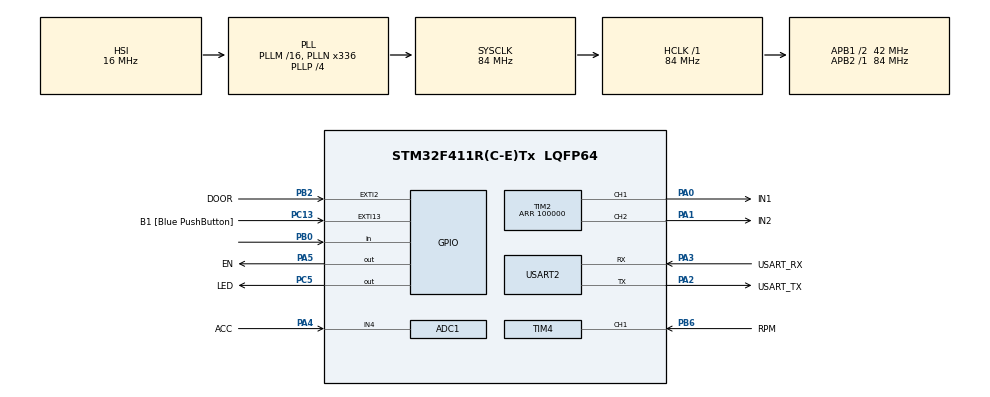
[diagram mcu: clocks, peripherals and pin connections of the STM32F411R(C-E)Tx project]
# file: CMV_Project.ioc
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ADC1.Channel-2\#ChannelRegularConversion=ADC_CHANNEL_4
ADC1.NbrOfConversionFlag=1
ADC1.Rank-2\#ChannelRegularConversion=1
ADC1.SamplingTime-2\#ChannelRegularConversion=ADC_SAMPLETIME_3CYCLES
ADC1.master=1
Mcu.Family=STM32F4
Mcu.Name=STM32F411R(C-E)Tx
Mcu.Package=LQFP64
NVIC.EXTI2_IRQn=true\:0\:0\:false\:false\:true\:true\:true\:true
NVIC.PriorityGroup=NVIC_PRIORITYGROUP_0
NVIC.TIM3_IRQn=true\:0\:0\:false\:false\:true\:true\:true\:true
NVIC.USART2_IRQn=true\:0\:0\:false\:false\:true\:true\:true\:true
PA0-WKUP.GPIO_Label=IN1
PA0-WKUP.Signal=S_TIM2_CH1_ETR
PA1.GPIO_Label=IN2
PA1.Signal=S_TIM2_CH2
PA13.GPIO_Label=TMS
PA13.Mode=Serial_Wire
PA13.Signal=SYS_JTMS-SWDIO
PA14.GPIO_Label=TCK
PA14.Mode=Serial_Wire
PA14.Signal=SYS_JTCK-SWCLK
PA2.GPIO_Label=USART_TX
PA2.Mode=Asynchronous
PA2.Signal=USART2_TX
PA3.GPIO_Label=USART_RX
PA3.Mode=Asynchronous
PA3.Signal=USART2_RX
PA4.GPIO_Label=ACC
PA4.Signal=SharedAnalog_PA4
PA5.GPIO_Label=EN
PA5.Signal=GPIO_Output
PB0.GPIO_PuPd=GPIO_PULLDOWN
PB0.Signal=GPIO_Input
PB2.GPIO_Label=DOOR
PB2.GPIO_PuPd=GPIO_PULLDOWN
PB2.Signal=GPXTI2
PB3.GPIO_Label=SWO
PB3.Signal=SYS_JTDO-SWO
PB6.GPIO_Label=RPM
PB6.Signal=S_TIM4_CH1
PC13-ANTI_TAMP.GPIO_Label=B1 [Blue PushButton]
PC13-ANTI_TAMP.GPIO_ModeDefaultEXTI=GPIO_MODE_IT_FALLING
PC13-ANTI_TAMP.Signal=GPXTI13
PC14-OSC32_IN.Mode=LSE-External-Oscillator
PC14-OSC32_IN.Signal=RCC_OSC32_IN
PC15-OSC32_OUT.Mode=LSE-External-Oscillator
PC15-OSC32_OUT.Signal=RCC_OSC32_OUT
PC5.GPIO_Label=LED
PC5.Signal=GPIO_Output
PH0\ -\ OSC_IN.Mode=HSE-External-Clock-Source
PH0\ -\ OSC_IN.Signal=RCC_OSC_IN
PH1\ -\ OSC_OUT.Mode=HSE-External-Clock-Source
PH1\ -\ OSC_OUT.Signal=RCC_OSC_OUT
ProjectManager.HeapSize=0x200
ProjectManager.StackSize=0x400
ProjectManager.TargetToolchain=STM32CubeIDE
RCC.48MHZClocksFreq_Value=84000000
RCC.AHBFreq_Value=84000000
RCC.APB1CLKDivider=RCC_HCLK_DIV2
RCC.APB1Freq_Value=42000000
RCC.APB1TimFreq_Value=84000000
RCC.APB2Freq_Value=84000000
RCC.APB2TimFreq_Value=84000000
RCC.CortexFreq_Value=84000000
RCC.FLatency-AdvancedSettings=FLASH_LATENCY_2
RCC.HCLKFreq_Value=84000000
RCC.HSE_VALUE=8000000
RCC.HSI_VALUE=16000000
RCC.PLLN=336
RCC.PLLP=RCC_PLLP_DIV4
RCC.SYSCLKFreq_VALUE=84000000
RCC.SYSCLKSource=RCC_SYSCLKSOURCE_PLLCLK
RCC.VCOOutputFreq_Value=336000000
SH.S_TIM2_CH1_ETR.0=TIM2_CH1,PWM Generation1 CH1
SH.S_TIM2_CH2.0=TIM2_CH2,PWM Generation2 CH2
SH.S_TIM4_CH1.0=TIM4_CH1,Input_Capture1_from_TI1
SH.SharedAnalog_PA4.0=GPIO_Analog
SH.SharedAnalog_PA4.1=ADC1_IN4,IN4
TIM2.Channel-PWM\ Generation1\ CH1=TIM_CHANNEL_1
TIM2.Channel-PWM\ Generation2\ CH2=TIM_CHANNEL_2
TIM2.Period=100000
TIM3.AutoReloadPreload=TIM_AUTORELOAD_PRELOAD_DISABLE
TIM3.Period=9999
TIM3.Prescaler=8399
TIM4.Channel-Input_Capture1_from_TI1=TIM_CHANNEL_1
USART2.VirtualMode=VM_ASYNC
VP_TIM2_VS_ClockSourceINT.Mode=Internal
VP_TIM3_VS_ClockSourceINT.Mode=Internal
VP_TIM4_VS_ClockSourceINT.Mode=Internal
board=NUCLEO-F411RE

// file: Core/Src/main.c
/* USER CODE BEGIN Header */
/**
  ******************************************************************************
  * @file           : main.c
  * @brief          : Main program body
  ******************************************************************************
  * @attention
  *
  * Copyright (c) 2023 STMicroelectronics.
  * All rights reserved.
  *
  * This software is licensed under terms that can be found in the LICENSE file
  * in the root directory of this software component.
  * If no LICENSE file comes with this software, it is provided AS-IS.
  *
  ******************************************************************************
  */
/* USER CODE END Header */
#include "main.h"

/* USER CODE BEGIN PD */
#define MAX_COUNT  65535
#define HALF_MAX_COUNT MAX_COUNT/2
#define Te 5
/* USER CODE END PD */

ADC_HandleTypeDef hadc1;

TIM_HandleTypeDef htim2;
TIM_HandleTypeDef htim3;
TIM_HandleTypeDef htim4;

UART_HandleTypeDef huart2;

void SystemClock_Config(void);
static void MX_GPIO_Init(void);
static void MX_USART2_UART_Init(void);
static void MX_TIM2_Init(void);
static void MX_ADC1_Init(void);
static void MX_TIM3_Init(void);
static void MX_TIM4_Init(void);

/* USER CODE BEGIN 0 */

int setSpeed = 0;
int pwmPeriod = 10000;
int dutyCycle = 0;
uint8_t motorState = 0;
uint8_t motorDir = 0;
int realSpeed;
uint8_t doorState = 0;
uint8_t currentVelocity[1] = {0};
int AngPos[2] = {0,0};
int SpeedL=0;
float zAxes = 0.3f;

#define RX_BUFFER_SIZE 2
uint8_t recvBytes[RX_BUFFER_SIZE];

float Read_acc() {
    HAL_ADC_Start(&hadc1);
    float adcValue = 0.0f;
    if (HAL_ADC_PollForConversion(&hadc1, HAL_MAX_DELAY) == HAL_OK) {
        adcValue = HAL_ADC_GetValue(&hadc1);
    }
    HAL_ADC_Stop(&hadc1);
    adcValue = adcValue*3.3/4096;
    return adcValue;
}

void HAL_UART_RxCpltCallback(UART_HandleTypeDef *huart){
	if (huart->Instance == USART2) {

  switch(recvBytes[0]){
  case 0:
	  motorState = recvBytes[1];
	  controlMotor();
	  break;
  case 1:
	  motorDir = recvBytes[1];
      controlMotor();
      break;
  case 2:
      setSpeed = recvBytes[1];
      dutyCycle = pwmPeriod* setSpeed/100;
      controlMotor();
	  break;
     }
      HAL_UART_Receive_IT(&huart2, recvBytes, RX_BUFFER_SIZE);
   }
}

void controlMotor(void){
	if(!doorState){
	  HAL_GPIO_WritePin(LED_GPIO_Port, LED_Pin, GPIO_PIN_SET);
	if(motorState){
	  HAL_GPIO_WritePin(EN_GPIO_Port, EN_Pin, GPIO_PIN_SET);
	  if(motorDir){
	    HAL_TIM_PWM_Stop(&htim2, TIM_CHANNEL_2);
		HAL_TIM_PWM_Start(&htim2, TIM_CHANNEL_1);
		__HAL_TIM_SET_COMPARE(&htim2, TIM_CHANNEL_1, dutyCycle);
	  }
	  else{
		HAL_TIM_PWM_Stop(&htim2, TIM_CHANNEL_1);
		HAL_TIM_PWM_Start(&htim2, TIM_CHANNEL_2);
		__HAL_TIM_SET_COMPARE(&htim2, TIM_CHANNEL_2, dutyCycle);
		  }
	}
	else{
		HAL_GPIO_WritePin(EN_GPIO_Port, EN_Pin, GPIO_PIN_RESET);
		HAL_TIM_PWM_Stop(&htim2, TIM_CHANNEL_1);
		HAL_TIM_PWM_Stop(&htim2, TIM_CHANNEL_2);
	}
}else{
	HAL_GPIO_WritePin(LED_GPIO_Port, LED_Pin, GPIO_PIN_RESET);
	HAL_GPIO_WritePin(EN_GPIO_Port, EN_Pin, GPIO_PIN_RESET);
			HAL_TIM_PWM_Stop(&htim2, TIM_CHANNEL_1);
			HAL_TIM_PWM_Stop(&htim2, TIM_CHANNEL_2);
}
}

void HAL_TIM_PeriodElapsedCallback(TIM_HandleTypeDef *htim) {
    if (htim->Instance == TIM3) {
//      realSpeed[1] = quadEncoder_GetSpeedL();

//  	  HAL_UART_Transmit(&huart2, realSpeed, 1, HAL_MAX_DELAY);
    }
}

void HAL_GPIO_EXTI_Callback(uint16_t GPIO_Pin){
	 if (GPIO_Pin == DOOR_Pin) {
	   doorState = HAL_GPIO_ReadPin(DOOR_GPIO_Port, DOOR_Pin);
//	   if(doorState){

       controlMotor();
//	   }
	 }
}

int quadEncoder_GetSpeedL(void)
{
	AngPos[1] = AngPos[0];
	AngPos[0] = __HAL_TIM_GET_COUNTER(&htim4);

	SpeedL = AngPos[0] - AngPos[1];
	if (SpeedL >= 0)
	{
		if (SpeedL >= HALF_MAX_COUNT)
			{
			SpeedL = SpeedL - MAX_COUNT;
			}
	}
	else
	{
		if (SpeedL < -HALF_MAX_COUNT)
			{
			SpeedL = SpeedL + MAX_COUNT;
			}
	}

	SpeedL = (SpeedL*1000)/(Te*80);
	return SpeedL;
}

/* USER CODE END 0 */

int main(void)
{

  /* MCU Configuration--------------------------------------------------------*/

  /* Reset of all peripherals, Initializes the Flash interface and the Systick. */
  HAL_Init();

  /* Configure the system clock */
  SystemClock_Config();

  /* Initialize all configured peripherals */
  MX_GPIO_Init();
  MX_USART2_UART_Init();
  MX_TIM2_Init();
  MX_ADC1_Init();
  MX_TIM3_Init();
  MX_TIM4_Init();
  float i;
  char message[50];

  /* Infinite loop */
  /* USER CODE BEGIN WHILE */
  while (1)
  {
  realSpeed = quadEncoder_GetSpeedL();
  snprintf(message, sizeof(message), "0#%d\n\r", realSpeed);
  HAL_UART_Transmit(&huart2, (uint8_t*)message, strlen(message), HAL_MAX_DELAY);

  zAxes = Read_acc();
//  i += 0.55;
  snprintf(message, sizeof(message), "1#%0.3f\n\r", zAxes);
  HAL_UART_Transmit(&huart2, (uint8_t*)message, strlen(message), HAL_MAX_DELAY);

  HAL_Delay(5);
    /* USER CODE END WHILE */

  }
}

void SystemClock_Config(void)
{
  RCC_OscInitTypeDef RCC_OscInitStruct = {0};
  RCC_ClkInitTypeDef RCC_ClkInitStruct = {0};

  /** Configure the main internal regulator output voltage
  */
  __HAL_RCC_PWR_CLK_ENABLE();
  __HAL_PWR_VOLTAGESCALING_CONFIG(PWR_REGULATOR_VOLTAGE_SCALE1);

  /** Initializes the RCC Oscillators according to the specified parameters
  * in the RCC_OscInitTypeDef structure.
  */
  RCC_OscInitStruct.OscillatorType = RCC_OSCILLATORTYPE_HSI;
  RCC_OscInitStruct.HSIState = RCC_HSI_ON;
  RCC_OscInitStruct.HSICalibrationValue = RCC_HSICALIBRATION_DEFAULT;
  RCC_OscInitStruct.PLL.PLLState = RCC_PLL_ON;
  RCC_OscInitStruct.PLL.PLLSource = RCC_PLLSOURCE_HSI;
  RCC_OscInitStruct.PLL.PLLM = 16;
  RCC_OscInitStruct.PLL.PLLN = 336;
  RCC_OscInitStruct.PLL.PLLP = RCC_PLLP_DIV4;
  RCC_OscInitStruct.PLL.PLLQ = 4;
  if (HAL_RCC_OscConfig(&RCC_OscInitStruct) != HAL_OK)
  {
    Error_Handler();
  }

  /** Initializes the CPU, AHB and APB buses clocks
  */
  RCC_ClkInitStruct.ClockType = RCC_CLOCKTYPE_HCLK|RCC_CLOCKTYPE_SYSCLK
                              |RCC_CLOCKTYPE_PCLK1|RCC_CLOCKTYPE_PCLK2;
  RCC_ClkInitStruct.SYSCLKSource = RCC_SYSCLKSOURCE_PLLCLK;
  RCC_ClkInitStruct.AHBCLKDivider = RCC_SYSCLK_DIV1;
  RCC_ClkInitStruct.APB1CLKDivider = RCC_HCLK_DIV2;
  RCC_ClkInitStruct.APB2CLKDivider = RCC_HCLK_DIV1;

  if (HAL_RCC_ClockConfig(&RCC_ClkInitStruct, FLASH_LATENCY_2) != HAL_OK)
  {
    Error_Handler();
  }
}

static void MX_ADC1_Init(void)
{

  ADC_ChannelConfTypeDef sConfig = {0};

  /** Configure the global features of the ADC (Clock, Resolution, Data Alignment and number of conversion)
  */
  hadc1.Instance = ADC1;
  hadc1.Init.ClockPrescaler = ADC_CLOCK_SYNC_PCLK_DIV4;
  hadc1.Init.Resolution = ADC_RESOLUTION_12B;
  hadc1.Init.ScanConvMode = DISABLE;
  hadc1.Init.ContinuousConvMode = DISABLE;
  hadc1.Init.DiscontinuousConvMode = DISABLE;
  hadc1.Init.ExternalTrigConvEdge = ADC_EXTERNALTRIGCONVEDGE_NONE;
  hadc1.Init.ExternalTrigConv = ADC_SOFTWARE_START;
  hadc1.Init.DataAlign = ADC_DATAALIGN_RIGHT;
  hadc1.Init.NbrOfConversion = 1;
  hadc1.Init.DMAContinuousRequests = DISABLE;
  hadc1.Init.EOCSelection = ADC_EOC_SINGLE_CONV;
  if (HAL_ADC_Init(&hadc1) != HAL_OK)
  {
    Error_Handler();
  }

  /** Configure for the selected ADC regular channel its corresponding rank in the sequencer and its sample time.
  */
  sConfig.Channel = ADC_CHANNEL_4;
  sConfig.Rank = 1;
  sConfig.SamplingTime = ADC_SAMPLETIME_3CYCLES;
  if (HAL_ADC_ConfigChannel(&hadc1, &sConfig) != HAL_OK)
  {
    Error_Handler();
  }

}

static void MX_TIM2_Init(void)
{

  TIM_ClockConfigTypeDef sClockSourceConfig = {0};
  TIM_MasterConfigTypeDef sMasterConfig = {0};
  TIM_OC_InitTypeDef sConfigOC = {0};

  /* USER CODE BEGIN TIM2_Init 1 */

  htim2.Init.Period = pwmPeriod;
  /* USER CODE END TIM2_Init 1 */
  htim2.Instance = TIM2;
  htim2.Init.Prescaler = 0;
  htim2.Init.CounterMode = TIM_COUNTERMODE_UP;
  htim2.Init.ClockDivision = TIM_CLOCKDIVISION_DIV1;
  htim2.Init.AutoReloadPreload = TIM_AUTORELOAD_PRELOAD_DISABLE;
  if (HAL_TIM_Base_Init(&htim2) != HAL_OK)
  {
    Error_Handler();
  }
  sClockSourceConfig.ClockSource = TIM_CLOCKSOURCE_INTERNAL;
  if (HAL_TIM_ConfigClockSource(&htim2, &sClockSourceConfig) != HAL_OK)
  {
    Error_Handler();
  }
  if (HAL_TIM_PWM_Init(&htim2) != HAL_OK)
  {
    Error_Handler();
  }
  sMasterConfig.MasterOutputTrigger = TIM_TRGO_RESET;
  sMasterConfig.MasterSlaveMode = TIM_MASTERSLAVEMODE_DISABLE;
  if (HAL_TIMEx_MasterConfigSynchronization(&htim2, &sMasterConfig) != HAL_OK)
  {
    Error_Handler();
  }
  sConfigOC.OCMode = TIM_OCMODE_PWM1;
  sConfigOC.Pulse = 0;
  sConfigOC.OCPolarity = TIM_OCPOLARITY_HIGH;
  sConfigOC.OCFastMode = TIM_OCFAST_DISABLE;
  if (HAL_TIM_PWM_ConfigChannel(&htim2, &sConfigOC, TIM_CHANNEL_1) != HAL_OK)
  {
    Error_Handler();
  }
  if (HAL_TIM_PWM_ConfigChannel(&htim2, &sConfigOC, TIM_CHANNEL_2) != HAL_OK)
  {
    Error_Handler();
  }
  /* USER CODE BEGIN TIM2_Init 2 */
  HAL_TIM_MspPostInit(&htim2);
  /* USER CODE END TIM2_Init 2 */
  HAL_TIM_MspPostInit(&htim2);

}

static void MX_TIM3_Init(void)
{

  TIM_ClockConfigTypeDef sClockSourceConfig = {0};
  TIM_MasterConfigTypeDef sMasterConfig = {0};

  /* USER CODE BEGIN TIM3_Init 1 */

  htim3.Instance = TIM3;
  htim3.Init.Prescaler = 4199;
  htim3.Init.CounterMode = TIM_COUNTERMODE_UP;
  htim3.Init.Period = 99;      //Interrupt Frequency = SysTick Clock(84 MHz HERE)/Prescaler*(Period+1)
  htim3.Init.ClockDivision = TIM_CLOCKDIVISION_DIV1;
  htim3.Init.AutoReloadPreload = TIM_AUTORELOAD_PRELOAD_DISABLE;
  /* USER CODE END TIM3_Init 1 */
  if (HAL_TIM_Base_Init(&htim3) != HAL_OK)
  {
    Error_Handler();
  }
  sClockSourceConfig.ClockSource = TIM_CLOCKSOURCE_INTERNAL;
  if (HAL_TIM_ConfigClockSource(&htim3, &sClockSourceConfig) != HAL_OK)
  {
    Error_Handler();
  }
  sMasterConfig.MasterOutputTrigger = TIM_TRGO_RESET;
  sMasterConfig.MasterSlaveMode = TIM_MASTERSLAVEMODE_DISABLE;
  if (HAL_TIMEx_MasterConfigSynchronization(&htim3, &sMasterConfig) != HAL_OK)
  {
    Error_Handler();
  }
  /* USER CODE BEGIN TIM3_Init 2 */
//  HAL_TIM_Base_Start_IT(&htim3);
  /* USER CODE END TIM3_Init 2 */

}

static void MX_TIM4_Init(void)
{

  TIM_ClockConfigTypeDef sClockSourceConfig = {0};
  TIM_MasterConfigTypeDef sMasterConfig = {0};
  TIM_IC_InitTypeDef sConfigIC = {0};

  /* USER CODE BEGIN TIM4_Init 2 */
  htim4.Instance = TIM4;
  htim4.Init.Prescaler = 0;
  htim4.Init.CounterMode = TIM_COUNTERMODE_UP;
  htim4.Init.Period = 80*4;
  htim4.Init.ClockDivision = TIM_CLOCKDIVISION_DIV1;
  htim4.Init.AutoReloadPreload = TIM_AUTORELOAD_PRELOAD_DISABLE;
  if (HAL_TIM_Base_Init(&htim4) != HAL_OK)
  {
    Error_Handler();
  }
  sClockSourceConfig.ClockSource = TIM_CLOCKSOURCE_TI1;
  if (HAL_TIM_ConfigClockSource(&htim4, &sClockSourceConfig) != HAL_OK)
  {
    Error_Handler();
  }
  if (HAL_TIM_IC_Init(&htim4) != HAL_OK)
  {
    Error_Handler();
  }
  sMasterConfig.MasterOutputTrigger = TIM_TRGO_RESET;
  sMasterConfig.MasterSlaveMode = TIM_MASTERSLAVEMODE_DISABLE;
  if (HAL_TIMEx_MasterConfigSynchronization(&htim4, &sMasterConfig) != HAL_OK)
  {
    Error_Handler();
  }
  sConfigIC.ICPolarity = TIM_INPUTCHANNELPOLARITY_RISING;
  sConfigIC.ICSelection = TIM_ICSELECTION_DIRECTTI;
  sConfigIC.ICPrescaler = TIM_ICPSC_DIV1;
  sConfigIC.ICFilter = 0;
  if (HAL_TIM_IC_ConfigChannel(&htim4, &sConfigIC, TIM_CHANNEL_1) != HAL_OK)
  {
    Error_Handler();
  }
  HAL_TIM_Base_Start_IT(&htim4);

  /* USER CODE END TIM4_Init 2 */

}

static void MX_USART2_UART_Init(void)
{

  huart2.Instance = USART2;
  huart2.Init.BaudRate = 115200;
  huart2.Init.WordLength = UART_WORDLENGTH_8B;
  huart2.Init.StopBits = UART_STOPBITS_1;
  huart2.Init.Parity = UART_PARITY_NONE;
  huart2.Init.Mode = UART_MODE_TX_RX;
  huart2.Init.HwFlowCtl = UART_HWCONTROL_NONE;
  huart2.Init.OverSampling = UART_OVERSAMPLING_16;
  if (HAL_UART_Init(&huart2) != HAL_OK)
  {
    Error_Handler();
  }
  /* USER CODE BEGIN USART2_Init 2 */
  HAL_UART_Receive_IT(&huart2, recvBytes, RX_BUFFER_SIZE);
  /* USER CODE END USART2_Init 2 */

}

static void MX_GPIO_Init(void)
{
  GPIO_InitTypeDef GPIO_InitStruct = {0};

  /* GPIO Ports Clock Enable */
  __HAL_RCC_GPIOC_CLK_ENABLE();
  __HAL_RCC_GPIOH_CLK_ENABLE();
  __HAL_RCC_GPIOA_CLK_ENABLE();
  __HAL_RCC_GPIOB_CLK_ENABLE();

  /*Configure GPIO pin Output Level */
  HAL_GPIO_WritePin(EN_GPIO_Port, EN_Pin, GPIO_PIN_RESET);

  /*Configure GPIO pin Output Level */
  HAL_GPIO_WritePin(LED_GPIO_Port, LED_Pin, GPIO_PIN_RESET);

  /*Configure GPIO pin : B1_Pin */
  GPIO_InitStruct.Pin = B1_Pin;
  GPIO_InitStruct.Mode = GPIO_MODE_IT_FALLING;
  GPIO_InitStruct.Pull = GPIO_NOPULL;
  HAL_GPIO_Init(B1_GPIO_Port, &GPIO_InitStruct);

  /*Configure GPIO pin : EN_Pin */
  GPIO_InitStruct.Pin = EN_Pin;
  GPIO_InitStruct.Mode = GPIO_MODE_OUTPUT_PP;
  GPIO_InitStruct.Pull = GPIO_NOPULL;
  GPIO_InitStruct.Speed = GPIO_SPEED_FREQ_LOW;
  HAL_GPIO_Init(EN_GPIO_Port, &GPIO_InitStruct);

  /*Configure GPIO pin : LED_Pin */
  GPIO_InitStruct.Pin = LED_Pin;
  GPIO_InitStruct.Mode = GPIO_MODE_OUTPUT_PP;
  GPIO_InitStruct.Pull = GPIO_NOPULL;
  GPIO_InitStruct.Speed = GPIO_SPEED_FREQ_LOW;
  HAL_GPIO_Init(LED_GPIO_Port, &GPIO_InitStruct);

  /*Configure GPIO pin : PB0 */
  GPIO_InitStruct.Pin = GPIO_PIN_0;
  GPIO_InitStruct.Mode = GPIO_MODE_INPUT;
  GPIO_InitStruct.Pull = GPIO_PULLDOWN;
  HAL_GPIO_Init(GPIOB, &GPIO_InitStruct);

  /*Configure GPIO pin : DOOR_Pin */
/* USER CODE BEGIN MX_GPIO_Init_2 */
  GPIO_InitStruct.Pin = DOOR_Pin;
  GPIO_InitStruct.Mode = GPIO_MODE_IT_RISING_FALLING;
  GPIO_InitStruct.Pull = GPIO_PULLDOWN;
  HAL_GPIO_Init(DOOR_GPIO_Port, &GPIO_InitStruct);

  /* EXTI interrupt init*/
  HAL_NVIC_SetPriority(EXTI2_IRQn, 0, 0);
  HAL_NVIC_EnableIRQ(EXTI2_IRQn);

/* USER CODE END MX_GPIO_Init_2 */
}

void Error_Handler(void)
{
  __disable_irq();
  while (1)
  {
  }
}
